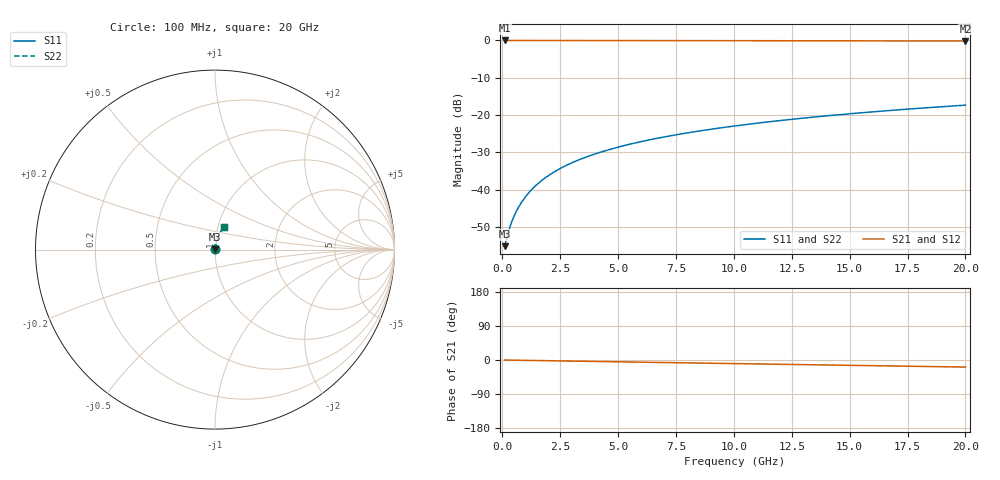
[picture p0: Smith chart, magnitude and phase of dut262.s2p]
! Touchstone file exported from HFSS 2026.1.0
!  File:  C:/ffzhzh/LocalFiles/Ansys_Project_Files/temp_train_TMRDL_262_1782985022_40604.aedt
!  Generated:  05:38:15 PM Jul  2, 2026
!  Design:  TMRDL
!  Project:  temp_train_TMRDL_262_1782985022_40604
! Variables:
!  h_bsmrdl = 2um
!  h_ox = 20um
!  h_rdl = 5um
!  h_sub = 80um
!  h_tmrdl = 5.96um
!  h_tsv = 80um
!  h_via = 3um
!  l_bsmrdl = 300um
!  l_sub = 698.11um
!  l_tmrdl = 298.11um
!  m_sub = 200um
!  pitch = 25.11um
!  r_tsv = 6um
!  s_tmrdl = 10um
!  w_bsmrdl = 18um
!  w_sub = 500um
!  w_tmrdl = 12.5um
!  x_tsv_center1 = 304.36um
!  x_tsv_center2 = 622.36um
!  x_tsv_center3 = 932.97um
!  x_tsv_center4 = 1250.97um
!  x_tsv_center5 = 1561.58um
!  x_tsv_center6 = 1879.58um
# GHz S MA R 50.000000
! Terminal data exported
! Port[1] = TM_RDL1_1_T1
! Port[2] = TM_RDL1_1_T2
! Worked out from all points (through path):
!   200 points, 100 MHz to 20 GHz, reference 50 ohm
!   highest |S21| = -0.01 dB at 100 MHz (marker M1); lowest = -0.2 dB at 20 GHz (marker M2)
!   group delay of S21, straight-line fit = 2.59 ps
!   lowest |S11| = -55.1 dB at 100 MHz (marker M3), VSWR 1.00, Z = 50.2 + j0.0869 ohm
!   |S11| at or under -10 dB: start of sweep to end of sweep
!   |S22| runs from -55.1 to -17.4 dB; largest |S21 - S12| = 3.6e-15
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0.1  0.001748 29.7  0.9985 -0.1  0.9985 -0.1  0.001748 29.7
! Gamma 0 0 0 0
! Port Impedance 50 0 50 0
0.2  0.002318 46.5  0.9984 -0.2  0.9984 -0.2  0.002318 46.5
0.3  0.002969 55.8  0.9983 -0.3  0.9983 -0.3  0.002969 55.8
0.4  0.00365 61.8  0.9983 -0.4  0.9983 -0.4  0.00365 61.8
0.5  0.00435 65.9  0.9982 -0.5  0.9982 -0.5  0.00435 65.9
0.6  0.005065 68.9  0.9982 -0.6  0.9982 -0.6  0.005065 68.9
0.8  0.006524 72.9  0.9981 -0.8  0.9981 -0.8  0.006524 72.9
1  0.008007 75.4  0.9981 -1.0  0.9981 -1.0  0.008007 75.4
1.2  0.009501 77.0  0.998 -1.2  0.998 -1.2  0.009501 77.0
1.4  0.011 78.1  0.9979 -1.4  0.9979 -1.4  0.011 78.1
1.7  0.01325 79.1  0.9978 -1.7  0.9978 -1.7  0.01325 79.1
2.2  0.01698 79.9  0.9975 -2.2  0.9975 -2.2  0.01698 79.9
2.8  0.0214 80.2  0.9971 -2.7  0.9971 -2.7  0.0214 80.2
3.5  0.02648 80.1  0.9966 -3.4  0.9966 -3.4  0.02648 80.1
4.2  0.03148 79.8  0.9961 -4.1  0.9961 -4.1  0.03148 79.8
5  0.03711 79.3  0.9956 -4.8  0.9956 -4.8  0.03711 79.3
6.8  0.04954 78.2  0.9942 -6.5  0.9942 -6.5  0.04954 78.2
8.3  0.05972 77.2  0.9931 -7.9  0.9931 -7.9  0.05972 77.2
10.1  0.07178 75.9  0.9917 -9.6  0.9917 -9.6  0.07178 75.9
13.4  0.09355 73.3  0.989 -12.6  0.989 -12.6  0.09355 73.3
16.7  0.1148 70.7  0.9861 -15.7  0.9861 -15.7  0.1148 70.7
20  0.1356 67.9  0.9828 -18.7  0.9828 -18.7  0.1356 67.9
